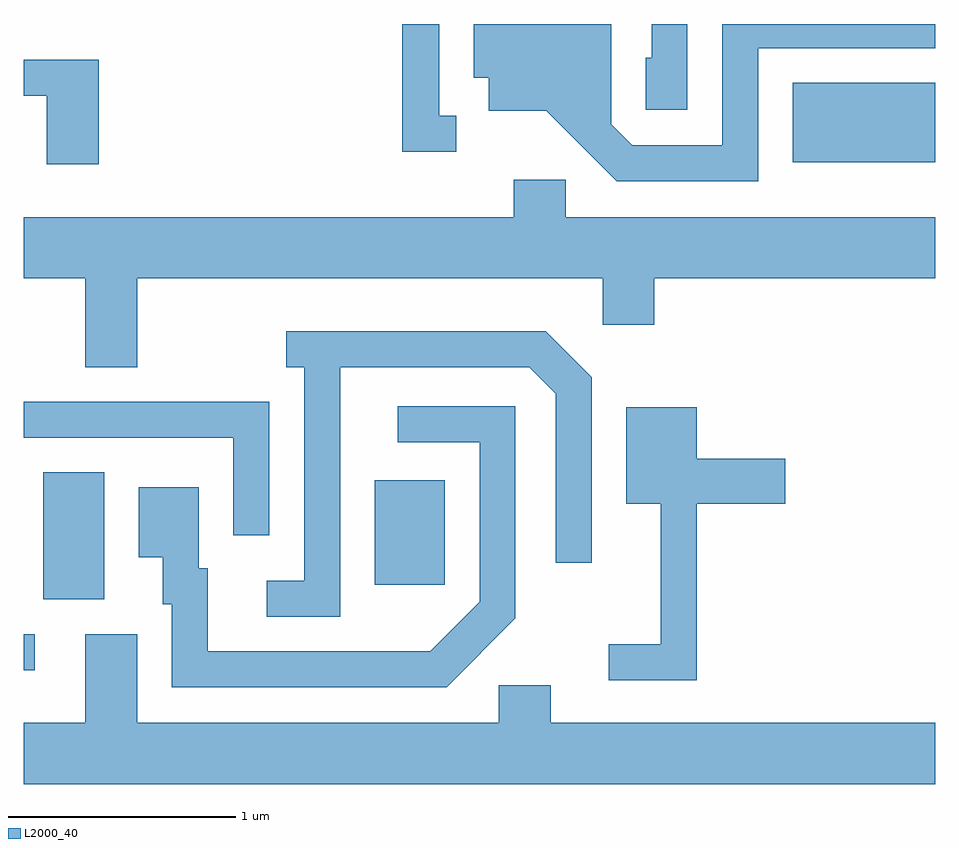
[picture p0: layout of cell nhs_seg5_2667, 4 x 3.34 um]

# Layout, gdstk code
import gdstk
lib = gdstk.Library(unit=1e-6, precision=1e-09)
def R(c, l, rs):  # rectangles x0, y0, x1, y1
    for r in rs: c.add(gdstk.rectangle(r[:2], r[2:], *l))
def P(c, l, *ps):  # polygons
    for p in ps: c.add(gdstk.Polygon(p, *l))
L2000_40 = (2000, 40)

nhs_seg5_2667 = lib.new_cell('nhs_seg5_2667')
R(nhs_seg5_2667, L2000_40, [(263.611,1517.236,263.658,1517.394), (263.696,1517.546,263.964,1518.104), (265.151,1517.611,265.459,1518.069), (266.986,1519.466,267.611,1519.814)])
P(nhs_seg5_2667, L2000_40, [(265.508,1519.669),(265.434,1519.669),(265.434,1520.072),(265.271,1520.072),(265.271,1519.511),(265.508,1519.511)],
  [(266.524,1520.072),(266.366,1520.072),(266.366,1519.924),(266.341,1519.924),(266.341,1519.696),(266.524,1519.696)],
  [(266.834,1519.966),(267.611,1519.966),(267.611,1520.072),(266.676,1520.072),(266.676,1519.539),(266.282,1519.539),(266.189,1519.632),(266.189,1520.072),(265.586,1520.072),(265.586,1519.836),(265.651,1519.836),(265.651,1519.691),(265.904,1519.691),(266.214,1519.381),(266.834,1519.381)],
  [(263.939,1519.914),(263.611,1519.914),(263.611,1519.756),(263.711,1519.756),(263.711,1519.456),(263.939,1519.456)],
  [(264.109,1518.956),(266.151,1518.956),(266.151,1518.751),(266.379,1518.751),(266.379,1518.956),(267.611,1518.956),(267.611,1519.224),(265.989,1519.224),(265.989,1519.389),(265.761,1519.389),(265.761,1519.224),(263.611,1519.224),(263.611,1518.956),(263.881,1518.956),(263.881,1518.566),(264.109,1518.566)],
  [(264.999,1518.566),(265.829,1518.566),(265.946,1518.449),(265.946,1517.708),(266.104,1517.708),(266.104,1518.522),(265.902,1518.724),(264.763,1518.724),(264.763,1518.566),(264.841,1518.566),(264.841,1517.629),(264.678,1517.629),(264.678,1517.471),(264.999,1517.471)],
  [(264.689,1518.414),(263.611,1518.414),(263.611,1518.256),(264.531,1518.256),(264.531,1517.828),(264.689,1517.828)],
  [(265.769,1517.464),(265.769,1518.394),(265.253,1518.394),(265.253,1518.236),(265.611,1518.236),(265.611,1517.537),(265.394,1517.319),(264.419,1517.319),(264.419,1517.684),(264.379,1517.684),(264.379,1518.039),(264.116,1518.039),(264.116,1517.731),(264.221,1517.731),(264.221,1517.526),(264.261,1517.526),(264.261,1517.161),(265.467,1517.161)],
  [(266.564,1517.966),(266.954,1517.966),(266.954,1518.164),(266.564,1518.164),(266.564,1518.389),(266.256,1518.389),(266.256,1517.966),(266.406,1517.966),(266.406,1517.349),(266.178,1517.349),(266.178,1517.191),(266.564,1517.191)],
  [(267.611,1517.004),(265.924,1517.004),(265.924,1517.169),(265.696,1517.169),(265.696,1517.004),(264.109,1517.004),(264.109,1517.394),(263.881,1517.394),(263.881,1517.004),(263.611,1517.004),(263.611,1516.736),(267.611,1516.736)])

lib.write_gds('nhs_seg5_2667.gds')
